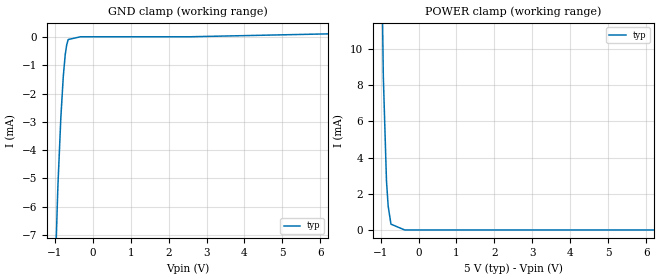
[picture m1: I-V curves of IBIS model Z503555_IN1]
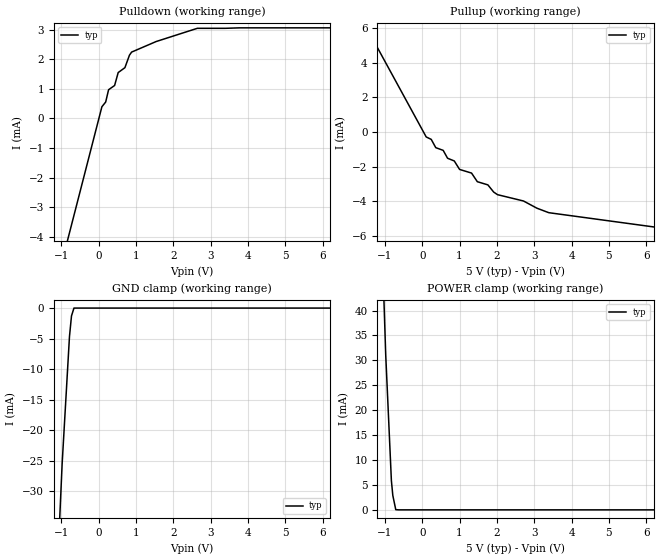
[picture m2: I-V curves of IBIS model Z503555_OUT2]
| YOU ARE ONLY AUTHORIZED TO USE THIS SOFTWARE
| ACCORDING TO LICENSOR'S LICENSE RESTRICTIONS.
[IBIS Ver] 3.1
[File Name] mc14071bcl.ibs
[File Rev] 2.0
[Source] Measured and created by ICX Technology
[Date] Friday 7/14/00 9:07:53 AM
[Copyright]
| (C) COPYRIGHT 1993-2000
| MENTOR GRAPHICS CORPORATION
| ICX STANDARD LIBRARY, ICX PROJECT MODELING,
| ICX CUSTOM MODELING, ICX VENDOR MODEL
| ALL RIGHTS RESERVED.
| THE FOLLOWING ARE TRADEMARKS OR SERVICE MARKS OF
| MENTOR GRAPHICS CORPORATION:ICX (R), ICX STANDARD
| LIBRARY(R), ICX PROJECT MODELING(R), ICX CUSTOM
| MODELING(R), qualityIBIS(TM), MODELVIEWER(TM),
| AND MODELEDITOR(TM)
| ALL COPIES OF SOFTWARE, INCLUDING BUT NOT LIMITED TO
| ANY MODIFICATIONS, ENHANCEMENTS OR DERIVATIVE WORKS,
| MUST CONTAIN ALL MENTOR GRAPHICS CORPORATION'S
| NOTICES AND LEGENDS, INCLUDING THOSE EMBEDDED IN
| SOFTWARE AND THOSE AFFIXED TO SOFTWARE MEDIUM
| AND CONTAINER, AS RECEIVED FROM MENTOR GRAPHICS
| CORPORATION.
|  ZAP Model Builder 2.7
[Component] MC14071BCL
[Manufacturer] OnSemiconductor
[Package]
| variable   typ   min   max
R_pkg  .21ohms NA NA
L_pkg  4.543nH NA NA
C_pkg  1.8pF NA NA
[Pin] signal_name  model_name  R_pin  L_pin C_pin
1 IN1A Z503555_IN1 .22 6.757n 2.434p
2 IN2A Z503555_IN1 .212 4.757n 1.941p
3 OUTA Z503555_OUT2 .204 3.257n 1.448p
4 OUTB Z503555_OUT2 .196 2.257n .955p
5 IN1B Z503555_IN1 .204 3.257n 1.448p
6 IN2B Z503555_IN1 .212 4.757n 1.941p
7 VSS POWER .22 6.757n 2.434p
8 IN1C Z503555_IN1 .22 6.757n 2.434p
9 IN2C Z503555_IN1 .212 4.757n 1.941p
10 OUTC Z503555_OUT2 .204 3.257n 1.448p
11 OUTD Z503555_OUT2 .196 2.257n .955p
12 IN1D Z503555_IN1 .204 3.257n 1.448p
13 IN2D Z503555_IN1 .212 4.757n 1.941p
14 VDD POWER .22 6.757n 2.434p
| Models and submodels in the file (2): Z503555_IN1 (Input), Z503555_OUT2 (Output)
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| (C) COPYRIGHT 1993-2000
| MENTOR GRAPHICS CORPORATION
| ICX STANDARD LIBRARY, ICX PROJECT MODELING,
| ICX CUSTOM MODELING, ICX VENDOR MODEL
| ALL RIGHTS RESERVED.
| THE FOLLOWING ARE TRADEMARKS OR SERVICE MARKS OF
| MENTOR GRAPHICS CORPORATION:ICX (R), ICX STANDARD
| LIBRARY(R), ICX PROJECT MODELING(R), ICX CUSTOM
| MODELING(R), qualityIBIS(TM), MODELVIEWER(TM),
| AND MODELEDITOR(TM)
| ALL COPIES OF SOFTWARE, INCLUDING BUT NOT LIMITED TO
| ANY MODIFICATIONS, ENHANCEMENTS OR DERIVATIVE WORKS,
| MUST CONTAIN ALL MENTOR GRAPHICS CORPORATION'S
| NOTICES AND LEGENDS, INCLUDING THOSE EMBEDDED IN
| SOFTWARE AND THOSE AFFIXED TO SOFTWARE MEDIUM
| AND CONTAINER, AS RECEIVED FROM MENTOR GRAPHICS
| CORPORATION.
| Model Application Version 1.89 2/18/99.
[Model] Z503555_IN1
Model_type Input
Vinl = 1.500V
Vinh = 3.500V
C_comp 4.000pF NA NA
| variable typ   min   max
[Voltage Range] 5.000V NA NA
[GND Clamp Reference] 0.000V NA NA
[POWER Clamp Reference] 5.000V NA NA
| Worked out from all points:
|   GND clamp passes 1 mA (typ) near -0.75 V on its own axis
|   POWER clamp passes 1 mA (typ) near -0.78 V on its own axis
[GND Clamp]
-5V       -269.6mA   NA         NA
-1.042V   -10.65mA   NA         NA
-917.6mV  -5.259mA   NA         NA
-839.7mV  -2.837mA   NA         NA
-775.9mV  -1.392mA   NA         NA
-724.2mV  -614uA     NA         NA
-683.7mV  -262.1uA   NA         NA
-646.2mV  -87.92uA   NA         NA
-323.1mV  10.56uA    NA         NA
2.56V     10.56uA    NA         NA
10V       219.8uA    NA         NA
[POWER Clamp]
-5V       911.2mA    NA         NA
-1.015V   21.5mA     NA         NA
-928mV    8.449mA    NA         NA
-845mV    2.706mA    NA         NA
-800mV    1.31mA     NA         NA
-727mV    320.8uA    NA         NA
-363.5mV  0A         NA         NA
10V       0A         NA         NA
| (C) COPYRIGHT 1993-2000
| MENTOR GRAPHICS CORPORATION
| ICX STANDARD LIBRARY, ICX PROJECT MODELING,
| ICX CUSTOM MODELING, ICX VENDOR MODEL
| ALL RIGHTS RESERVED.
| THE FOLLOWING ARE TRADEMARKS OR SERVICE MARKS OF
| MENTOR GRAPHICS CORPORATION:ICX (R), ICX STANDARD
| LIBRARY(R), ICX PROJECT MODELING(R), ICX CUSTOM
| MODELING(R), qualityIBIS(TM), MODELVIEWER(TM),
| AND MODELEDITOR(TM)
| ALL COPIES OF SOFTWARE, INCLUDING BUT NOT LIMITED TO
| ANY MODIFICATIONS, ENHANCEMENTS OR DERIVATIVE WORKS,
| MUST CONTAIN ALL MENTOR GRAPHICS CORPORATION'S
| NOTICES AND LEGENDS, INCLUDING THOSE EMBEDDED IN
| SOFTWARE AND THOSE AFFIXED TO SOFTWARE MEDIUM
| AND CONTAINER, AS RECEIVED FROM MENTOR GRAPHICS
| CORPORATION.
| Model Application Version 1.89 2/18/99.
[Model] Z503555_OUT2
Model_type Output
Vref=0.000V
Rref=500.0Mohms
Cref=50.00pF
Vmeas=2.500V
C_comp 8.000pF NA NA
| variable typ   min   max
[Voltage Range] 5.000V NA NA
[POWER Clamp Reference] 5.000V NA NA
[Pullup Reference] 5.000V NA NA
[Pulldown Reference] 0.000V NA NA
[GND Clamp Reference] 0.000V NA NA
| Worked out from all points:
|   slope of the pulldown table from 0 to 0.75 V, typ, clamps not added: 394 ohm
|   slope of the pullup table from 0 to 0.75 V, typ, clamps not added: 437 ohm
|   GND clamp passes 1 mA (typ) near -0.71 V on its own axis
|   POWER clamp passes 1 mA (typ) near -0.73 V on its own axis
[GND Clamp]
-5V       -724.7mA   NA         NA
-1.099V   -42.22mA   NA         NA
-976.5mV  -25.45mA   NA         NA
-781.2mV  -4.695mA   NA         NA
-726.9mV  -1.286mA   NA         NA
-660.8mV  0A         NA         NA
10V       0A         NA         NA
[Pulldown]
-5V       -24.51mA   NA         NA
87.13mV   395.8uA    NA         NA
188.7mV   555.5uA    NA         NA
266.2mV   969.6uA    NA         NA
427.6mV   1.113mA    NA         NA
523.6mV   1.549mA    NA         NA
703.1mV   1.713mA    NA         NA
825.1mV   2.134mA    NA         NA
883.4mV   2.239mA    NA         NA
1.541V    2.595mA    NA         NA
2.642V    3.04mA     NA         NA
10V       3.056mA    NA         NA
[Pullup]
-5V       19.91mA    NA         NA
242mV     -422.3uA   NA         NA
363mV     -899.9uA   NA         NA
562mV     -1.056mA   NA         NA
1.001V    -2.159mA   NA         NA
1.321V    -2.369mA   NA         NA
1.476V    -2.868mA   NA         NA
1.758V    -3.051mA   NA         NA
2.017V    -3.618mA   NA         NA
2.712V    -3.983mA   NA         NA
3.389V    -4.659mA   NA         NA
10V       -6.597mA   NA         NA
[POWER Clamp]
-5V       1.144A     NA         NA
-1.152V   71.18mA    NA         NA
-977mV    31.15mA    NA         NA
-825mV    5.861mA    NA         NA
-787mV    2.9mA      NA         NA
-708mV    39.07uA    NA         NA
-629.3mV  0A         NA         NA
10V       0A         NA         NA
[Ramp]
| variable typ min max
dV/dt_r 2.487/15.04n NA NA
dV/dt_f 2.487/11.82n NA NA
R_load = 2.500kOhms
